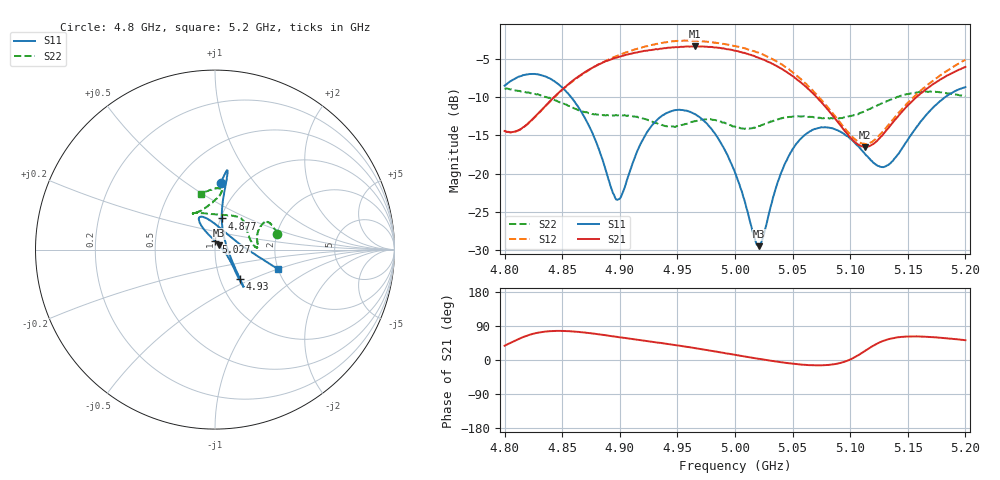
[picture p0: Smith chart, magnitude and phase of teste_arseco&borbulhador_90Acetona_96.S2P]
! Network Analyzer HP8722D
! Hewlett-Packard
! Data name: Linha & Wilkinson
! Saver's name: Rodrigo Anjos
! Comments: Teste da utilização de aquisição
! continua pelo VNA HP8722D
! Time and date: 17/4/2025 11:51
!  Frequency  S11  S21  S12  S22
# HZ  S  MA R 50
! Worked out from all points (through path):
!   401 points, 4.8 GHz to 5.2 GHz, reference 50 ohm
!   highest |S21| = -3.38 dB at 4.965 GHz (marker M1); lowest = -16.5 dB at 5.113 GHz (marker M2)
!   lowest |S11| = -29.5 dB at 5.021 GHz (marker M3), VSWR 1.07, Z = 52.3 + j2.58 ohm
!   |S11| at or under -10 dB: 4.858 GHz to 5.183 GHz (325 MHz wide, 6.47 % of centre)
!   |S22| runs from -14.2 to -8.9 dB; largest |S21 - S12| = 0.24
!   S11 on the Smith chart (normalised r, x): 4.8 GHz: 0.80, +0.69; 4.877 GHz: 1.01, +0.36; 4.93 GHz: 1.24, -0.43; 5.027 GHz: 1.00, +0.09; 5.2 GHz: 2.00, -0.50
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4.8e9  0.3745 85.2  0.1896 37.7  0.1898 -1.9  0.3577 14.4
4.814e9  0.4328 82.2  0.1954 57.9  0.1951 19.1  0.3436 23.4
4.835e9  0.4315 80.6  0.2743 75.0  0.2735 38.4  0.3171 29.1
4.867e9  0.25 80.6  0.4448 73.2  0.442 43.2  0.2563 21.5
4.877e9  0.1778 77.6  0.4943 69.6  0.494 42.4  0.2443 17.1
4.894e9  0.07475 42.4  0.5612 62.5  0.5719 39.9  0.2397 8.7
4.899e9  0.06798 12.9  0.5775 60.2  0.5925 39.1  0.2401 6.9
4.917e9  0.1504 -42.0  0.6229 52.8  0.6582 35.1  0.2319 2.7
4.93e9  0.2147 -49.5  0.6447 47.3  0.6953 31.5  0.2145 7.4
4.934e9  0.23 -50.8  0.6501 45.4  0.709 30.2  0.2097 9.9
4.965e9  0.2448 -52.4  0.6774 31.5  0.7349 18.4  0.2199 41.2
4.984e9  0.1757 -48.1  0.6652 22.1  0.7126 11.2  0.2223 55.1
5e9  0.1018 -35.5  0.6346 13.4  0.6806 5.3  0.2026 72.5
5.021e9  0.03358 47.3  0.5677 3.1  0.6107 -2.6  0.2044 101.1
5.027e9  0.04568 87.0  0.5436 0.1  0.5867 -4.7  0.2128 107.8
5.045e9  0.1222 118.1  0.4594 -7.9  0.4885 -10.8  0.2328 119.1
5.067e9  0.1928 118.1  0.3377 -13.8  0.3524 -13.5  0.2347 121.0
5.089e9  0.1921 109.2  0.2185 -9.4  0.2261 -5.1  0.2298 112.0
5.113e9  0.134 84.7  0.1492 24.2  0.1561 31.8  0.2561 95.4
5.134e9  0.1152 33.6  0.2022 55.6  0.2111 65.8  0.3018 85.0
5.171e9  0.2657 -11.1  0.3793 60.4  0.399 78.2  0.3415 87.7
5.2e9  0.3668 -17.2  0.4973 52.2  0.5528 76.1  0.3194 104.3
